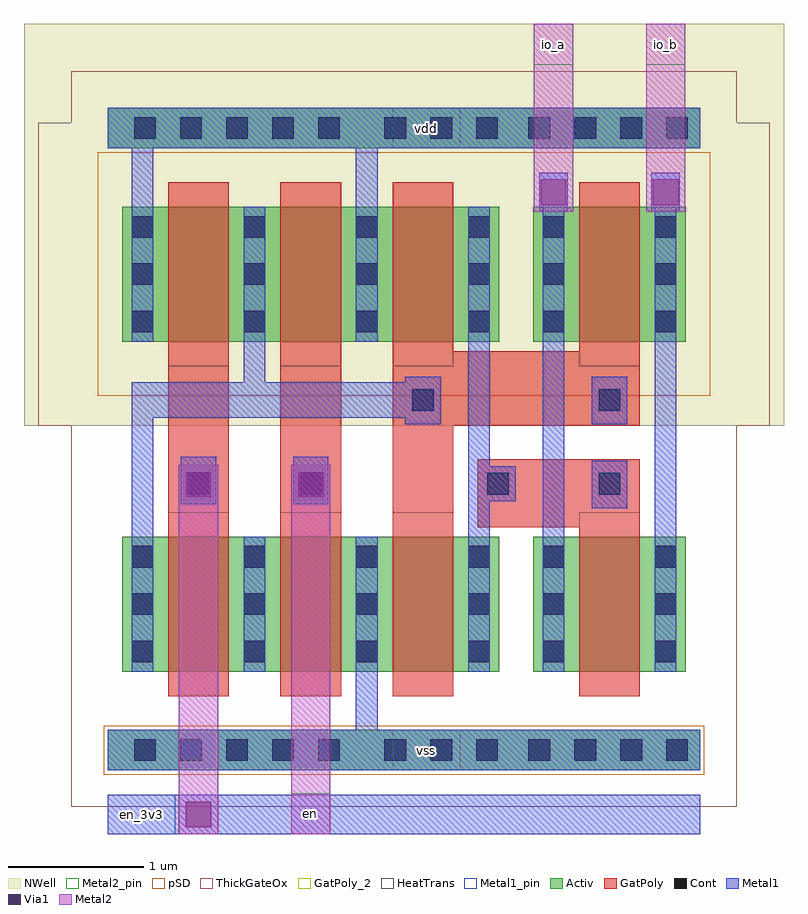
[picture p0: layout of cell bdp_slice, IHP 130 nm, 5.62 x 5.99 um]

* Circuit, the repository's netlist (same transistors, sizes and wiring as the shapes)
* SPDX-FileCopyrightText: 2026 Christoph Maier
* SPDX-License-Identifier: Apache-2.0
* bdp_slice (Claude, agent D, C4 2026-11-07). hv devices 1u/0.45u; every device as drawn.

.SUBCKT bdp_slice en en_3v3 io_a io_b vdd vss
MPA e_b en_3v3 vdd vdd sg13_hv_pmos w=1u l=0.45u ng=1 m=1
MPB e_b en vdd vdd sg13_hv_pmos w=1u l=0.45u ng=1 m=1
MNA e_b en_3v3 n1 vss sg13_hv_nmos w=1u l=0.45u ng=1 m=1
MNB n1 en vss vss sg13_hv_nmos w=1u l=0.45u ng=1 m=1
MP e e_b vdd vdd sg13_hv_pmos w=1u l=0.45u ng=1 m=1
MN e e_b vss vss sg13_hv_nmos w=1u l=0.45u ng=1 m=1
MTGP io_a e_b io_b vdd sg13_hv_pmos w=1u l=0.45u ng=1 m=1
MTGN io_a e io_b vss sg13_hv_nmos w=1u l=0.45u ng=1 m=1
.ENDS bdp_slice

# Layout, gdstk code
import gdstk
lib = gdstk.Library(unit=1e-6, precision=1e-09)
def R(c, l, rs):  # rectangles x0, y0, x1, y1
    for r in rs: c.add(gdstk.rectangle(r[:2], r[2:], *l))
def A(c, l, x, y, w, h, nx, ny, dx, dy):  # array of equal rectangles
    R(c, l, [(x+i*dx, y+j*dy, x+i*dx+w, y+j*dy+h) for i in range(nx) for j in range(ny)])
Activ = (1, 0)
GatPoly = (5, 0)
GatPoly_2 = (5, 2)
Cont = (6, 0)
Metal1 = (8, 0)
Metal1_pin = (8, 2)
Metal2 = (10, 0)
Metal2_pin = (10, 2)
pSD = (14, 0)
Via1 = (19, 0)
NWell = (31, 0)
ThickGateOx = (44, 0)
HeatTrans = (51, 0)

pmoshv_w2_l0p45_ng2 = lib.new_cell('pmosHV_w2_l0p45_ng2')
A(pmoshv_w2_l0p45_ng2, Activ, 0, 0, 0.3, 0.3, 3, 1, 0.83, 0)
R(pmoshv_w2_l0p45_ng2, Activ, [(0,0,1.96,1)])
R(pmoshv_w2_l0p45_ng2, GatPoly, [(0.34,-0.18,0.79,1.18), (1.17,-0.18,1.62,1.18)])
R(pmoshv_w2_l0p45_ng2, GatPoly_2, [(0.34,-0.18,0.79,1.18)])
A(pmoshv_w2_l0p45_ng2, Cont, 0.07, 0.07, 0.16, 0.16, 3, 3, 0.83, 0.35)
A(pmoshv_w2_l0p45_ng2, Metal1, 0.07, 0, 0.16, 1, 3, 1, 0.83, 0)
R(pmoshv_w2_l0p45_ng2, Metal1_pin, [(0.07,0,0.23,1), (0.9,0,1.06,1)])
R(pmoshv_w2_l0p45_ng2, pSD, [(-0.18,-0.4,2.14,1.4)])
R(pmoshv_w2_l0p45_ng2, NWell, [(-0.62,-0.62,2.58,1.62)])
R(pmoshv_w2_l0p45_ng2, ThickGateOx, [(-0.62,-0.62,2.58,1.62)])
R(pmoshv_w2_l0p45_ng2, HeatTrans, [(0.34,-0.18,0.79,1.18), (1.17,-0.18,1.62,1.18)])
pmoshv_w2_l0p45_ng2.add(gdstk.Label('pmosHV', (0.565,0.5), layer=63, texttype=0))
pmoshv_w2_l0p45_ng2.add(gdstk.Label('pmos', (0.565,0.5), layer=51, texttype=0))
pmoshv_w2_l0p45_ng2.add(gdstk.Label('pmos', (1.395,0.5), layer=51, texttype=0))

nmoshv_w2_l0p45_ng2 = lib.new_cell('nmosHV_w2_l0p45_ng2')
A(nmoshv_w2_l0p45_ng2, Activ, 0, 0, 0.3, 0.3, 3, 1, 0.83, 0)
R(nmoshv_w2_l0p45_ng2, Activ, [(0,0,1.96,1)])
R(nmoshv_w2_l0p45_ng2, GatPoly, [(0.34,-0.18,0.79,1.18), (1.17,-0.18,1.62,1.18)])
R(nmoshv_w2_l0p45_ng2, GatPoly_2, [(0.34,-0.18,0.79,1.18)])
A(nmoshv_w2_l0p45_ng2, Cont, 0.07, 0.07, 0.16, 0.16, 3, 3, 0.83, 0.35)
A(nmoshv_w2_l0p45_ng2, Metal1, 0.07, 0, 0.16, 1, 3, 1, 0.83, 0)
R(nmoshv_w2_l0p45_ng2, Metal1_pin, [(0.07,0,0.23,1), (0.9,0,1.06,1)])
R(nmoshv_w2_l0p45_ng2, ThickGateOx, [(-0.27,-0.52,2.23,1.52)])
R(nmoshv_w2_l0p45_ng2, HeatTrans, [(0.34,-0.18,0.79,1.18), (1.17,-0.18,1.62,1.18)])
nmoshv_w2_l0p45_ng2.add(gdstk.Label('nmosHV', (0.565,0.5), layer=63, texttype=0))
nmoshv_w2_l0p45_ng2.add(gdstk.Label('nmosHV', (0.565,0.5), layer=51, texttype=0))
nmoshv_w2_l0p45_ng2.add(gdstk.Label('nmosHV', (1.395,0.5), layer=51, texttype=0))

nand2_hv = lib.new_cell('nand2_hv')
R(nand2_hv, Activ, [(-0.105,0,1.96,0.3), (-0.105,4.6,1.96,4.9)])
R(nand2_hv, GatPoly, [(0.34,1.91,0.79,2.99), (1.17,1.91,1.62,2.99)])
A(nand2_hv, Cont, 0.09, 0.07, 0.16, 0.16, 5, 2, 0.34, 4.6)
R(nand2_hv, Cont, [(0.485,2.04,0.645,2.2), (1.315,2.04,1.475,2.2)])
R(nand2_hv, Metal1, [(-0.105,0,1.96,0.3), (1.73,0.3,1.89,0.73), (0.07,1.73,0.23,2.87), (0.435,1.97,0.695,2.32), (1.265,1.97,1.525,2.32), (0.07,2.61,1.06,2.87), (0.9,2.61,1.06,3.17), (0.07,4.17,0.23,4.6), (1.73,4.17,1.89,4.6), (-0.105,4.6,1.96,4.9)])
R(nand2_hv, pSD, [(-0.135,-0.03,1.99,0.33)])
R(nand2_hv, NWell, [(-0.725,2.55,2.58,5.52)])
R(nand2_hv, ThickGateOx, [(-0.375,-0.27,2.23,5.17)])
nand2_hv.add(gdstk.Reference(pmoshv_w2_l0p45_ng2, (0,3.17)))
nand2_hv.add(gdstk.Reference(nmoshv_w2_l0p45_ng2, (0,0.73)))
nand2_hv.add(gdstk.Label('PA PB', (0.98,3.67), layer=63, texttype=0))
nand2_hv.add(gdstk.Label('NA NB', (0.98,1.23), layer=63, texttype=0))

pmoshv_w1_l0p45 = lib.new_cell('pmosHV_w1_l0p45')
R(pmoshv_w1_l0p45, Activ, [(0,0,0.3,0.3), (0,0,1.13,1), (0.83,0,1.13,0.3)])
R(pmoshv_w1_l0p45, GatPoly, [(0.34,-0.18,0.79,1.18)])
R(pmoshv_w1_l0p45, GatPoly_2, [(0.34,-0.18,0.79,1.18)])
A(pmoshv_w1_l0p45, Cont, 0.07, 0.07, 0.16, 0.16, 1, 3, 0, 0.35)
A(pmoshv_w1_l0p45, Cont, 0.9, 0.07, 0.16, 0.16, 1, 3, 0, 0.35)
R(pmoshv_w1_l0p45, Metal1, [(0.07,0,0.23,1), (0.9,0,1.06,1)])
R(pmoshv_w1_l0p45, Metal1_pin, [(0.07,0,0.23,1), (0.9,0,1.06,1)])
R(pmoshv_w1_l0p45, pSD, [(-0.18,-0.4,1.31,1.4)])
R(pmoshv_w1_l0p45, NWell, [(-0.62,-0.62,1.75,1.62)])
R(pmoshv_w1_l0p45, ThickGateOx, [(-0.62,-0.62,1.75,1.62)])
R(pmoshv_w1_l0p45, HeatTrans, [(0.34,-0.18,0.79,1.18)])
pmoshv_w1_l0p45.add(gdstk.Label('pmosHV', (0.565,0.5), layer=63, texttype=0))
pmoshv_w1_l0p45.add(gdstk.Label('pmos', (0.565,0.5), layer=51, texttype=0))

nmoshv_w1_l0p45 = lib.new_cell('nmosHV_w1_l0p45')
R(nmoshv_w1_l0p45, Activ, [(0,0,0.3,0.3), (0,0,1.13,1), (0.83,0,1.13,0.3)])
R(nmoshv_w1_l0p45, GatPoly, [(0.34,-0.18,0.79,1.18)])
R(nmoshv_w1_l0p45, GatPoly_2, [(0.34,-0.18,0.79,1.18)])
A(nmoshv_w1_l0p45, Cont, 0.07, 0.07, 0.16, 0.16, 1, 3, 0, 0.35)
A(nmoshv_w1_l0p45, Cont, 0.9, 0.07, 0.16, 0.16, 1, 3, 0, 0.35)
R(nmoshv_w1_l0p45, Metal1, [(0.07,0,0.23,1), (0.9,0,1.06,1)])
R(nmoshv_w1_l0p45, Metal1_pin, [(0.07,0,0.23,1), (0.9,0,1.06,1)])
R(nmoshv_w1_l0p45, ThickGateOx, [(-0.27,-0.52,1.4,1.52)])
R(nmoshv_w1_l0p45, HeatTrans, [(0.34,-0.18,0.79,1.18)])
nmoshv_w1_l0p45.add(gdstk.Label('nmosHV', (0.565,0.5), layer=63, texttype=0))
nmoshv_w1_l0p45.add(gdstk.Label('nmosHV', (0.565,0.5), layer=51, texttype=0))

inv_hv = lib.new_cell('inv_hv')
R(inv_hv, Activ, [(0,0,1.255,0.3), (0,4.6,1.255,4.9)])
R(inv_hv, GatPoly, [(0.34,1.91,0.79,2.99)])
A(inv_hv, Cont, 0.28, 0.07, 0.16, 0.16, 3, 2, 0.34, 4.6)
R(inv_hv, Cont, [(0.485,2.66,0.645,2.82)])
R(inv_hv, Metal1, [(0,0,1.255,0.3), (0.07,0.3,0.23,0.73), (0.9,1.73,1.06,3.17), (0.435,2.56,0.695,2.91), (0.07,4.17,0.23,4.6), (0,4.6,1.255,4.9)])
R(inv_hv, pSD, [(-0.03,-0.03,1.285,0.33)])
R(inv_hv, NWell, [(-0.62,2.55,1.875,5.52)])
R(inv_hv, ThickGateOx, [(-0.27,-0.27,1.525,5.17)])
inv_hv.add(gdstk.Reference(pmoshv_w1_l0p45, (0,3.17)))
inv_hv.add(gdstk.Reference(nmoshv_w1_l0p45, (0,0.73)))
inv_hv.add(gdstk.Label('P', (0.565,3.67), layer=63, texttype=0))
inv_hv.add(gdstk.Label('N', (0.565,1.23), layer=63, texttype=0))

tg_hv = lib.new_cell('tg_hv')
R(tg_hv, Activ, [(-0.125,0,1.235,0.3), (-0.125,4.6,1.235,4.9)])
R(tg_hv, GatPoly, [(0.34,1.91,0.79,2.3), (0.34,2.55,0.79,2.99)])
A(tg_hv, Cont, -0.035, 0.07, 0.16, 0.16, 4, 2, 0.34, 4.6)
R(tg_hv, Cont, [(0.485,2.04,0.645,2.2), (0.485,2.66,0.645,2.82)])
R(tg_hv, Metal1, [(-0.125,0,1.235,0.3), (0.07,1.73,0.23,3.17), (0.9,1.73,1.06,3.17), (0.435,1.94,0.695,2.29), (0.435,2.56,0.695,2.91), (-0.125,4.6,1.235,4.9)])
R(tg_hv, pSD, [(-0.155,-0.03,1.265,0.33)])
R(tg_hv, NWell, [(-0.745,2.55,1.855,5.52)])
R(tg_hv, ThickGateOx, [(-0.395,-0.27,1.505,5.17)])
tg_hv.add(gdstk.Reference(pmoshv_w1_l0p45, (0,3.17)))
tg_hv.add(gdstk.Reference(nmoshv_w1_l0p45, (0,0.73)))
tg_hv.add(gdstk.Label('TGP', (0.565,3.67), layer=63, texttype=0))
tg_hv.add(gdstk.Label('TGN', (0.565,1.23), layer=63, texttype=0))

bdp_slice = lib.new_cell('bdp_slice')
R(bdp_slice, GatPoly, [(2.63,1.8,3.83,2.3), (2,2.55,3.83,3.1)])
R(bdp_slice, Cont, [(2.7,2.04,2.86,2.2)])
R(bdp_slice, Metal1, [(-0.105,-0.47,4.275,-0.18), (2.56,1.99,2.91,2.25), (1.06,2.61,2.095,2.87), (3.085,4.13,3.295,4.42), (3.915,4.13,4.125,4.42)])
R(bdp_slice, Metal1_pin, [(-0.105,-0.47,0.395,-0.18), (2,0,2.5,0.3), (2,4.6,2.5,4.9)])
R(bdp_slice, Metal2, [(0.42,-0.47,0.71,2.26), (1.25,-0.47,1.54,2.26), (3.045,4.13,3.335,5.52), (3.875,4.13,4.165,5.52)])
R(bdp_slice, Metal2_pin, [(1.25,-0.47,1.54,-0.17), (3.045,5.22,3.335,5.52), (3.875,5.22,4.165,5.52)])
R(bdp_slice, Via1, [(0.47,-0.42,0.66,-0.23), (0.47,2.02,0.66,2.21), (1.3,2.02,1.49,2.21), (3.095,4.18,3.285,4.37), (3.925,4.18,4.115,4.37)])
bdp_slice.add(gdstk.Reference(nand2_hv, (0,0)))
bdp_slice.add(gdstk.Reference(inv_hv, (1.66,0)))
bdp_slice.add(gdstk.Reference(tg_hv, (3.04,0)))
bdp_slice.add(gdstk.Label('en_3v3', (0.145,-0.325), layer=8, texttype=25))
bdp_slice.add(gdstk.Label('vdd', (2.25,4.75), layer=8, texttype=25))
bdp_slice.add(gdstk.Label('vss', (2.25,0.15), layer=8, texttype=25))
bdp_slice.add(gdstk.Label('en', (1.395,-0.32), layer=10, texttype=25))
bdp_slice.add(gdstk.Label('io_a', (3.19,5.37), layer=10, texttype=25))
bdp_slice.add(gdstk.Label('io_b', (4.02,5.37), layer=10, texttype=25))

lib.write_gds('bdp_slice.gds')
